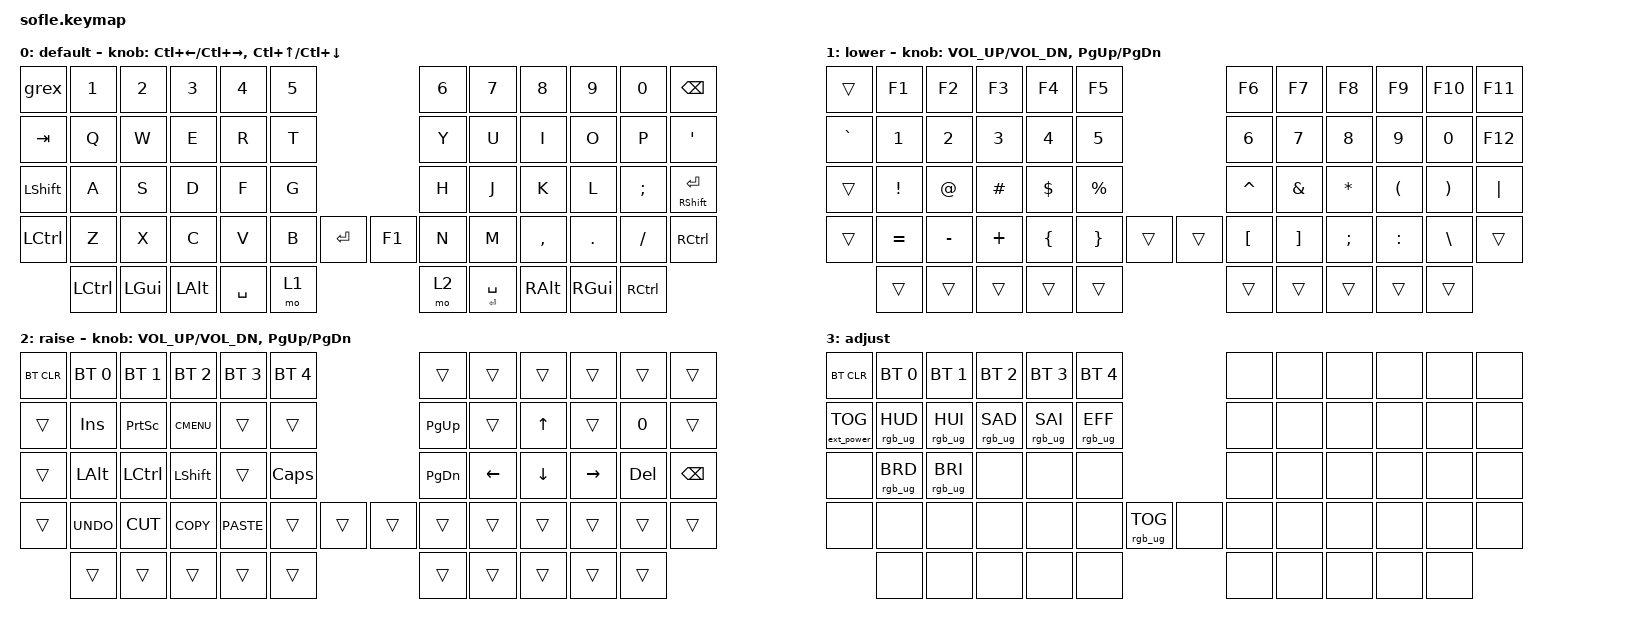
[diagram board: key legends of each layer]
/*
 * Copyright (c) 2020 The ZMK Contributors
 *
 * SPDX-License-Identifier: MIT
 */

#include <behaviors.dtsi>
#include <dt-bindings/zmk/keys.h>
#include <dt-bindings/zmk/bt.h>
#include <dt-bindings/zmk/rgb.h>
#include <dt-bindings/zmk/ext_power.h>

#define BASE 0
#define LOWER 1
#define RAISE 2
#define ADJUST 3

/ {

   // Activate ADJUST layer by pressing raise and lower
    conditional_layers {
        compatible = "zmk,conditional-layers";
        adjust_layer {
            if-layers = <LOWER RAISE>;
            then-layer = <ADJUST>;
        };
    };

    behaviors {
        grex: grave_escape_mod {
            compatible = "zmk,behavior-mod-morph";
            label = "GRAVE_ESCAPE_MOD";
            #binding-cells = <0>;
            bindings = <&kp ESC>, <&kp GRAVE>;
            mods = <(MOD_LSFT|MOD_RSFT)>;
            keep-mods = <(MOD_LSFT)>;
        };
    };

    keymap {
        compatible = "zmk,keymap";

        default_layer {
            display-name = "default";
// ------------------------------------------------------------------------------------------------------------
// | `|ESC |  1  |  2  |  3   |  4   |  5   |                   |  6   |  7    |  8    |  9   |   0   | BKSPC     |
// |  TAB  |  Q  |  W  |  E   |  R   |  T   |                   |  Y   |  U    |  I    |  O   |   P   |   '       |
// | SHIFT |  A  |  S  |  D   |  F   |  G   |                   |  H   |  J    |  K    |  L   |   ;   | SHIFT|RET |
// |  CTRL |  Z  |  X  |  C   |  V   |  B   |        |  |  F1   |  N   |  M    |  ,    |  .   |   /   |  CTRL     |
//               | CTRL| GUI  | ALT  | SPACE | LOWER |  |  RAISE | RET|SPACE|  ALT  | GUI | CTRL  |
            bindings = <
&grex     &kp N1 &kp N2   &kp N3   &kp N4    &kp N5                      &kp N6 &kp N7    &kp N8    &kp N9   &kp N0   &kp BSPC
&kp TAB   &kp Q  &kp W    &kp E    &kp R     &kp T                       &kp Y  &kp U     &kp I     &kp O    &kp P    &kp QUOT
&kp LSHFT &kp A  &kp S    &kp D    &kp F     &kp G                       &kp H  &kp J     &kp K     &kp L    &kp SEMI &mt RSHFT RET
&kp LCTRL &kp Z  &kp X    &kp C    &kp V     &kp B     &kp RET  &kp F1   &kp N  &kp M     &kp COMMA &kp DOT  &kp FSLH &kp RCTRL
          &kp LCTRL       &kp LGUI &kp LALT  &kp SPACE &mo 1    &mo 2    &mt RET SPACE &kp RALT &kp RGUI &kp RCTRL
            >;

            sensor-bindings =
                <&inc_dec_kp LC(LEFT) LC(RIGHT)>,
                <&inc_dec_kp LC(UP_ARROW) LC(DOWN_ARROW)>;
        };

        lower_layer {
            display-name = "lower";
// TODO: Some binds are waiting for shifted keycode support.
// ------------------------------------------------------------------------------------------------------------
// |       |  F1 |  F2 |  F3  |  F4  |  F5  |                   |  F6  |  F7   |  F8   |  F9  |  F10  |  F11  |
// |   `   |  1  |  2  |  3   |  4   |  5   |                   |  6   |  7    |  8    |  9   |   0   |  F12  |
// |       |  !  |  @  |  #   |  $   |  %   |                   |  ^   |  &    |  *    |  (   |   )   |   |   |
// |       |  =  |  -  |  +   |  {   |  }   |        |  |       |  [   |  ]    |  ;    |  :   |   \   |       |
//               |     |      |      |      |        |  |       |      |       |       |      |
            bindings = <
&trans    &kp F1    &kp F2    &kp F3      &kp F4    &kp F5                    &kp F6    &kp F7   &kp F8    &kp F9    &kp F10   &kp F11
&kp GRAVE &kp N1    &kp N2    &kp N3      &kp N4    &kp N5                    &kp N6    &kp N7   &kp N8    &kp N9    &kp N0    &kp F12
&trans    &kp EXCL  &kp AT    &kp HASH    &kp DLLR  &kp PRCNT                 &kp CARET &kp AMPS &kp ASTRK &kp LPAR  &kp RPAR  &kp PIPE
&trans    &kp EQUAL &kp MINUS &kp PLUS &kp LBRC  &kp RBRC   &trans &trans  &kp LBKT  &kp RBKT &kp SEMI  &kp COLON &kp BSLH  &trans
                    &trans    &trans      &trans    &trans     &trans &trans  &trans    &trans   &trans    &trans
            >;

            sensor-bindings = <&inc_dec_kp C_VOL_UP C_VOL_DN &inc_dec_kp PG_UP PG_DN>;
        };

        raise_layer {
            display-name = "raise";
// ------------------------------------------------------------------------------------------------------------
// | BTCLR | BT1  | BT2  |  BT3  |  BT4  |  BT5 |                |      |      |       |      |       |       |
// |       | INS  | PSCR | GUI   |       |      |                | PGUP |      |   ^   |      |       |       |
// |       | ALT  | CTRL | SHIFT |       | CAPS |                | PGDN |   <- |   v   |  ->  |  DEL  | BKSPC |
// |       | UNDO | CUT  | COPY  | PASTE |      |      |  |      |      |      |       |      |       |       |
//                |      |       |       |      |      |  |      |      |      |       |      |
            bindings = <
&bt BT_CLR &bt BT_SEL 0 &bt BT_SEL 1 &bt BT_SEL 2 &bt BT_SEL 3 &bt BT_SEL 4                  &trans    &trans    &trans   &trans    &trans  &trans
&trans     &kp INS      &kp PSCRN    &kp K_CMENU  &trans       &trans                        &kp PG_UP &trans    &kp UP   &trans    &kp N0  &trans
&trans     &kp LALT     &kp LCTRL    &kp LSHFT    &trans       &kp CLCK                      &kp PG_DN &kp LEFT  &kp DOWN &kp RIGHT &kp DEL &kp BSPC
&trans     &kp K_UNDO   &kp K_CUT    &kp K_COPY   &kp K_PASTE  &trans        &trans  &trans  &trans    &trans    &trans   &trans    &trans  &trans
                        &trans       &trans       &trans       &trans        &trans  &trans  &trans    &trans    &trans   &trans
            >;

            sensor-bindings = <&inc_dec_kp C_VOL_UP C_VOL_DN &inc_dec_kp PG_UP PG_DN>;
        };

        adjust_layer {
// ----------------------------------------------------------------------------------------------------------------------------
// | BTCLR  |  BT1    |  BT2    |   BT3   |   BT4   |   BT5   |                  |      |      |       |      |       |       |
// | EXTPWR | RGB_HUD | RGB_HUI | RGB_SAD | RGB_SAI | RGB_EFF |                  |      |      |       |      |       |       |
// |        | RGB_BRD | RGB_BRI |         |         |         |                  |      |      |       |      |       |       |
// |        |         |         |         |         |         | RGB_TOG | |      |      |      |       |      |       |       |
//                    |         |         |         |         |         | |      |      |      |       |      |
            display-name = "adjust";
            bindings = <
&bt BT_CLR        &bt BT_SEL 0    &bt BT_SEL 1    &bt BT_SEL 2    &bt BT_SEL 3    &bt BT_SEL 4                            &none &none &none &none &none &none
&ext_power EP_TOG &rgb_ug RGB_HUD &rgb_ug RGB_HUI &rgb_ug RGB_SAD &rgb_ug RGB_SAI &rgb_ug RGB_EFF                         &none &none &none &none &none &none
&none             &rgb_ug RGB_BRD &rgb_ug RGB_BRI &none           &none           &none                                   &none &none &none &none &none &none
&none             &none           &none           &none           &none           &none            &rgb_ug RGB_TOG &none  &none &none &none &none &none &none
                                  &none           &none           &none           &none            &none           &none  &none &none &none &none
            >;
        };

    };
};
